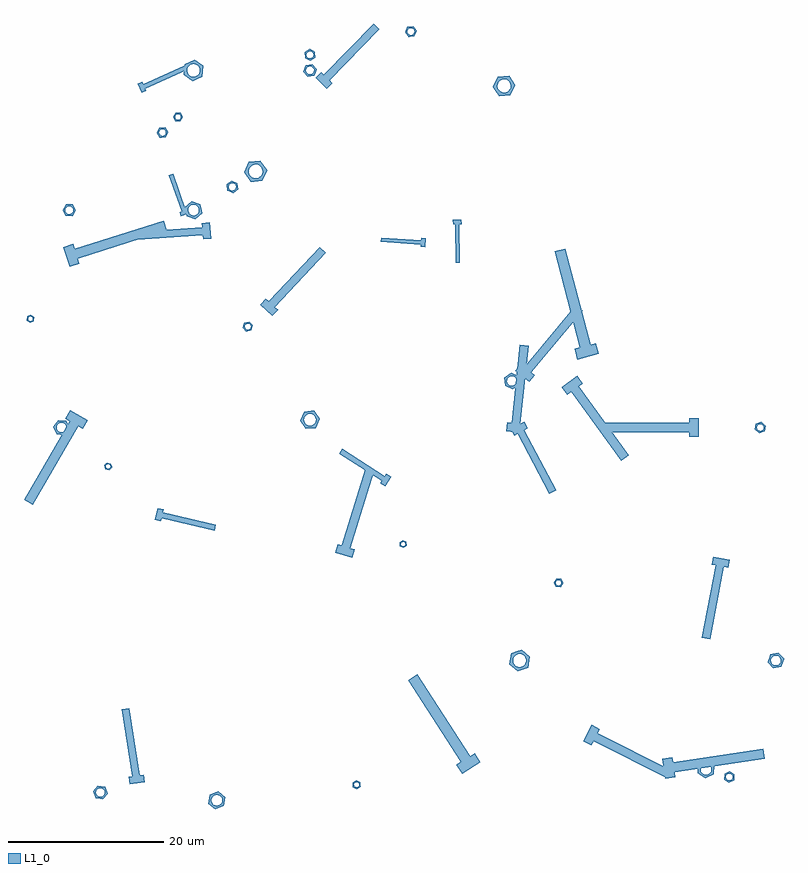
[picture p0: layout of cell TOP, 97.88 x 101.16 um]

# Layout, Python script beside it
import klayout.db as db
import random
import math

ly = db.Layout()
top_cell = ly.create_cell("TOP")
layer = ly.layer(1, 0)

# Produce a cell for the nuts

nut = ly.create_cell("NUT")

t = db.CplxTrans(ly.dbu).inverted()
r = db.Region(t * db.DPolygon.ellipse(db.DBox(-1.0, -1.0, 1.0, 1.0), 6))
r -= db.Region(t * db.DPolygon.ellipse(db.DBox(-0.6, -0.6, 0.6, 0.6), 32))
nut.shapes(layer).insert(r)

# Produce a cell for the bolts

bolt = ly.create_cell("BOLT")

points = [
  db.DPoint(-1.0, -5.0),
  db.DPoint(-1.0, -4.0),
  db.DPoint(-0.5, -4.0),
  db.DPoint(-0.5, 5.0),
  db.DPoint(0.5, 5.0),
  db.DPoint(0.5, -4.0),
  db.DPoint(1.0, -4.0),
  db.DPoint(1.0, -5.0)
]
bolt.shapes(layer).insert(db.DPolygon(points))

# Random placements with scaling and arbitrary rotations

for i in range(0, 50):

  cell_name = [ "NUT", "BOLT" ][math.floor(2.0 * random.random())]
  cell = ly.cell(cell_name)

  x = random.random() * 100.0
  y = random.random() * 100.0
  scale = random.random() * 1.0 + 0.5
  angle = random.random() * 360.0
  mirror = False

  t = db.ICplxTrans(scale, angle, mirror, x, y)

  top_cell.insert(db.DCellInstArray(cell.cell_index(), t))

ly.write("nuts_and_bolts.gds")
